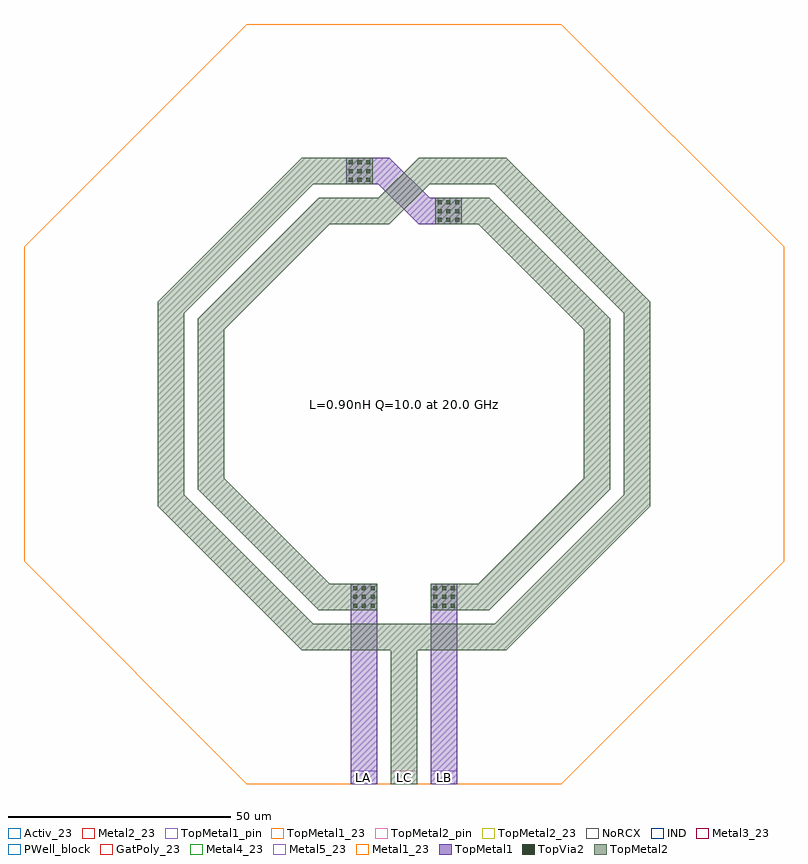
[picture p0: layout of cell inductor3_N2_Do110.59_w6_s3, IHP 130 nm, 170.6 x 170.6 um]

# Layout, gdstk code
import gdstk
lib = gdstk.Library(unit=1e-6, precision=1e-09)
def R(c, l, rs):  # rectangles x0, y0, x1, y1
    for r in rs: c.add(gdstk.rectangle(r[:2], r[2:], *l))
def A(c, l, x, y, w, h, nx, ny, dx, dy):  # array of equal rectangles
    R(c, l, [(x+i*dx, y+j*dy, x+i*dx+w, y+j*dy+h) for i in range(nx) for j in range(ny)])
def P(c, l, *ps):  # polygons
    for p in ps: c.add(gdstk.Polygon(p, *l))
Activ_23 = (1, 23)
GatPoly_23 = (5, 23)
Metal1_23 = (8, 23)
Metal2_23 = (10, 23)
IND = (27, 0)
Metal3_23 = (30, 23)
PWell_block = (46, 21)
Metal4_23 = (50, 23)
Metal5_23 = (67, 23)
TopMetal1 = (126, 0)
TopMetal1_pin = (126, 2)
TopMetal1_23 = (126, 23)
TopVia2 = (133, 0)
TopMetal2 = (134, 0)
TopMetal2_pin = (134, 2)
TopMetal2_23 = (134, 23)
NoRCX = (148, 0)

inductor3_n2_do110_59_w6 = lib.new_cell('inductor3_N2_Do110.59_w6_s3')
P(inductor3_n2_do110_59_w6, Activ_23, [(35.33,-85.3),(85.3,-35.33),(85.3,35.33),(35.33,85.3),(-35.33,85.3),(-85.3,35.33),(-85.3,-35.33),(-35.33,-85.3)])
P(inductor3_n2_do110_59_w6, GatPoly_23, [(35.33,-85.3),(85.3,-35.33),(85.3,35.33),(35.33,85.3),(-35.33,85.3),(-85.3,35.33),(-85.3,-35.33),(-35.33,-85.3)])
P(inductor3_n2_do110_59_w6, Metal1_23, [(35.33,-85.3),(85.3,-35.33),(85.3,35.33),(35.33,85.3),(-35.33,85.3),(-85.3,35.33),(-85.3,-35.33),(-35.33,-85.3)])
P(inductor3_n2_do110_59_w6, Metal2_23, [(35.33,-85.3),(85.3,-35.33),(85.3,35.33),(35.33,85.3),(-35.33,85.3),(-85.3,35.33),(-85.3,-35.33),(-35.33,-85.3)])
P(inductor3_n2_do110_59_w6, IND, [(35.33,-85.3),(85.3,-35.33),(85.3,35.33),(35.33,85.3),(-35.33,85.3),(-85.3,35.33),(-85.3,-35.33),(-35.33,-85.3)])
P(inductor3_n2_do110_59_w6, Metal3_23, [(35.33,-85.3),(85.3,-35.33),(85.3,35.33),(35.33,85.3),(-35.33,85.3),(-85.3,35.33),(-85.3,-35.33),(-35.33,-85.3)])
P(inductor3_n2_do110_59_w6, PWell_block, [(35.33,-85.3),(85.3,-35.33),(85.3,35.33),(35.33,85.3),(-35.33,85.3),(-85.3,35.33),(-85.3,-35.33),(-35.33,-85.3)])
P(inductor3_n2_do110_59_w6, Metal4_23, [(35.33,-85.3),(85.3,-35.33),(85.3,35.33),(35.33,85.3),(-35.33,85.3),(-85.3,35.33),(-85.3,-35.33),(-35.33,-85.3)])
P(inductor3_n2_do110_59_w6, Metal5_23, [(35.33,-85.3),(85.3,-35.33),(85.3,35.33),(35.33,85.3),(-35.33,85.3),(-85.3,35.33),(-85.3,-35.33),(-35.33,-85.3)])
R(inductor3_n2_do110_59_w6, TopMetal1, [(-12,-85.3,-6,-40.3), (6,-85.3,12,-40.3)])
P(inductor3_n2_do110_59_w6, TopMetal1, [(-12.98,55.3),(-12.98,49.3),(-5.743,49.3),(3.257,40.3),(12.98,40.3),(12.98,46.3),(5.743,46.3),(-3.257,55.3)])
R(inductor3_n2_do110_59_w6, TopMetal1_pin, [(-12,-85.3,-6,-82.3), (6,-85.3,12,-82.3)])
P(inductor3_n2_do110_59_w6, TopMetal1_23, [(35.33,-85.3),(85.3,-35.33),(85.3,35.33),(35.33,85.3),(-35.33,85.3),(-85.3,35.33),(-85.3,-35.33),(-35.33,-85.3)])
A(inductor3_n2_do110_59_w6, TopVia2, -11.41, -45.71, 0.9, 0.9, 3, 3, 1.96, 1.96)
A(inductor3_n2_do110_59_w6, TopVia2, 6.59, -45.71, 0.9, 0.9, 3, 3, 1.96, 1.96)
A(inductor3_n2_do110_59_w6, TopVia2, 7.57, 40.89, 0.9, 0.9, 3, 3, 1.96, 1.96)
A(inductor3_n2_do110_59_w6, TopVia2, -12.4, 49.89, 0.9, 0.9, 3, 3, 1.96, 1.96)
R(inductor3_n2_do110_59_w6, TopMetal2, [(-3,-85.3,3,-49.3), (-12.985,-55.3,12.985,-49.3)])
P(inductor3_n2_do110_59_w6, TopMetal2, [(-6.98,-55.3),(-6.98,-49.3),(-20.417,-49.3),(-49.3,-20.417),(-49.3,6),(-55.3,6),(-55.3,-22.903),(-22.903,-55.3)],
  [(-6.98,49.3),(-6.98,55.3),(-22.903,55.3),(-55.3,22.903),(-55.3,-6),(-49.3,-6),(-49.3,20.417),(-20.417,49.3)],
  [(6.98,-49.3),(6.98,-55.3),(22.903,-55.3),(55.3,-22.903),(55.3,6),(49.3,6),(49.3,-20.417),(20.417,-49.3)],
  [(6.98,55.3),(6.98,49.3),(20.417,49.3),(49.3,20.417),(49.3,-6),(55.3,-6),(55.3,22.903),(22.903,55.3)],
  [(-6,-46.3),(-6,-40.3),(-16.697,-40.3),(-40.3,-16.697),(-40.3,6),(-46.3,6),(-46.3,-19.183),(-19.183,-46.3)],
  [(-6.98,40.3),(-6.98,46.3),(-19.183,46.3),(-46.3,19.183),(-46.3,-6),(-40.3,-6),(-40.3,16.697),(-16.697,40.3)],
  [(6,-40.3),(6,-46.3),(19.183,-46.3),(46.3,-19.183),(46.3,6),(40.3,6),(40.3,-16.697),(16.697,-40.3)],
  [(6.98,46.3),(6.98,40.3),(16.697,40.3),(40.3,16.697),(40.3,-6),(46.3,-6),(46.3,19.183),(19.183,46.3)],
  [(-12.98,46.3),(-12.98,40.3),(-3.257,40.3),(5.743,49.3),(12.98,49.3),(12.98,55.3),(3.257,55.3),(-5.743,46.3)])
R(inductor3_n2_do110_59_w6, TopMetal2_pin, [(-3,-85.3,3,-82.3)])
P(inductor3_n2_do110_59_w6, TopMetal2_23, [(35.33,-85.3),(85.3,-35.33),(85.3,35.33),(35.33,85.3),(-35.33,85.3),(-85.3,35.33),(-85.3,-35.33),(-35.33,-85.3)])
P(inductor3_n2_do110_59_w6, NoRCX, [(35.33,-85.3),(85.3,-35.33),(85.3,35.33),(35.33,85.3),(-35.33,85.3),(-85.3,35.33),(-85.3,-35.33),(-35.33,-85.3)])
inductor3_n2_do110_59_w6.add(gdstk.Label('LA', (-9,-83.8), layer=27, texttype=25))
inductor3_n2_do110_59_w6.add(gdstk.Label('LB', (9,-83.8), layer=27, texttype=25))
inductor3_n2_do110_59_w6.add(gdstk.Label('LC', (0,-83.8), layer=27, texttype=25))
inductor3_n2_do110_59_w6.add(gdstk.Label('L=0.90nH Q=10.0 at 20.0 GHz\n  number of turns: 2\n  width: 6.00\n  spacing: 3.00\n  outer diameter: 110.59\n  inner diameter: 80.59\n', (0,0), layer=63, texttype=0))

lib.write_gds('inductor3_N2_Do110.59_w6_s3.gds')
